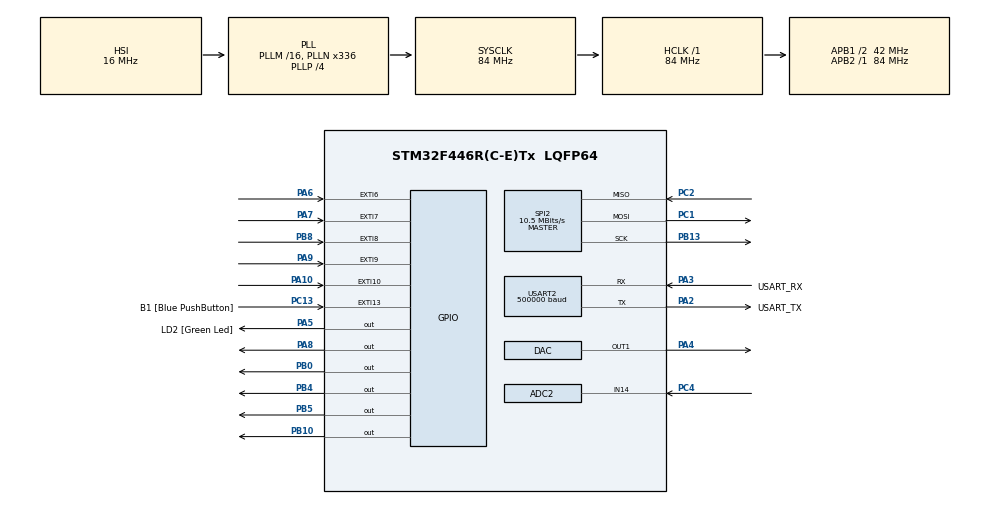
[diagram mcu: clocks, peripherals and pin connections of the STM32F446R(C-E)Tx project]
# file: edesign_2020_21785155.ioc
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ADC2.Channel-0\#ChannelRegularConversion=ADC_CHANNEL_14
ADC2.DMAContinuousRequests=ENABLE
ADC2.ExternalTrigConv=ADC_EXTERNALTRIGCONV_T2_TRGO
ADC2.NbrOfConversionFlag=1
ADC2.Rank-0\#ChannelRegularConversion=1
ADC2.Resolution=ADC_RESOLUTION_8B
ADC2.SamplingTime-0\#ChannelRegularConversion=ADC_SAMPLETIME_3CYCLES
DAC.DAC_Trigger=DAC_TRIGGER_T6_TRGO
Dma.ADC2.1.Direction=DMA_PERIPH_TO_MEMORY
Dma.ADC2.1.FIFOMode=DMA_FIFOMODE_DISABLE
Dma.ADC2.1.Instance=DMA2_Stream2
Dma.ADC2.1.MemDataAlignment=DMA_MDATAALIGN_BYTE
Dma.ADC2.1.MemInc=DMA_MINC_ENABLE
Dma.ADC2.1.Mode=DMA_CIRCULAR
Dma.ADC2.1.PeriphDataAlignment=DMA_PDATAALIGN_BYTE
Dma.ADC2.1.PeriphInc=DMA_PINC_DISABLE
Dma.ADC2.1.Priority=DMA_PRIORITY_LOW
Dma.DAC1.0.Direction=DMA_MEMORY_TO_PERIPH
Dma.DAC1.0.FIFOMode=DMA_FIFOMODE_DISABLE
Dma.DAC1.0.Instance=DMA1_Stream5
Dma.DAC1.0.MemDataAlignment=DMA_MDATAALIGN_HALFWORD
Dma.DAC1.0.MemInc=DMA_MINC_ENABLE
Dma.DAC1.0.Mode=DMA_NORMAL
Dma.DAC1.0.PeriphDataAlignment=DMA_PDATAALIGN_HALFWORD
Dma.DAC1.0.PeriphInc=DMA_PINC_DISABLE
Dma.DAC1.0.Priority=DMA_PRIORITY_LOW
Dma.Request0=DAC1
Dma.Request1=ADC2
Dma.Request2=USART2_TX
Dma.USART2_TX.2.Direction=DMA_MEMORY_TO_PERIPH
Dma.USART2_TX.2.FIFOMode=DMA_FIFOMODE_DISABLE
Dma.USART2_TX.2.Instance=DMA1_Stream6
Dma.USART2_TX.2.MemDataAlignment=DMA_MDATAALIGN_BYTE
Dma.USART2_TX.2.MemInc=DMA_MINC_ENABLE
Dma.USART2_TX.2.Mode=DMA_NORMAL
Dma.USART2_TX.2.PeriphDataAlignment=DMA_PDATAALIGN_BYTE
Dma.USART2_TX.2.PeriphInc=DMA_PINC_DISABLE
Dma.USART2_TX.2.Priority=DMA_PRIORITY_LOW
Mcu.Family=STM32F4
Mcu.Name=STM32F446R(C-E)Tx
Mcu.Package=LQFP64
NVIC.DMA1_Stream5_IRQn=true\:0\:0\:false\:false\:true\:false\:true
NVIC.DMA1_Stream6_IRQn=true\:0\:0\:false\:false\:true\:false\:true
NVIC.DMA2_Stream2_IRQn=true\:0\:0\:false\:false\:true\:false\:true
NVIC.EXTI15_10_IRQn=true\:0\:0\:false\:false\:true\:true\:true
NVIC.EXTI9_5_IRQn=true\:0\:0\:false\:false\:true\:true\:true
NVIC.PriorityGroup=NVIC_PRIORITYGROUP_0
PA10.GPIO_PuPd=GPIO_PULLDOWN
PA10.Signal=GPXTI10
PA13.GPIO_Label=TMS
PA13.Mode=Serial_Wire
PA13.Signal=SYS_JTMS-SWDIO
PA14.GPIO_Label=TCK
PA14.Mode=Serial_Wire
PA14.Signal=SYS_JTCK-SWCLK
PA2.GPIO_Label=USART_TX
PA2.Mode=Asynchronous
PA2.Signal=USART2_TX
PA3.GPIO_Label=USART_RX
PA3.Mode=Asynchronous
PA3.Signal=USART2_RX
PA4.Signal=COMP_DAC1_group
PA5.GPIO_Label=LD2 [Green Led]
PA5.Signal=GPIO_Output
PA6.GPIO_PuPd=GPIO_PULLDOWN
PA6.Signal=GPXTI6
PA7.GPIO_PuPd=GPIO_PULLDOWN
PA7.Signal=GPXTI7
PA8.Signal=GPIO_Output
PA9.GPIO_PuPd=GPIO_PULLDOWN
PA9.Signal=GPXTI9
PB0.Signal=GPIO_Output
PB10.Signal=GPIO_Output
PB13.Mode=Full_Duplex_Master
PB13.Signal=SPI2_SCK
PB3.Signal=SPI3_SCK
PB4.Signal=GPIO_Output
PB5.Signal=GPIO_Output
PB8.GPIO_PuPd=GPIO_PULLDOWN
PB8.Signal=GPXTI8
PC1.Mode=Full_Duplex_Master
PC1.Signal=SPI2_MOSI
PC13.GPIO_Label=B1 [Blue PushButton]
PC13.GPIO_ModeDefaultEXTI=GPIO_MODE_IT_FALLING
PC13.Signal=GPXTI13
PC14-OSC32_IN.Mode=LSE-External-Oscillator
PC14-OSC32_IN.Signal=RCC_OSC32_IN
PC15-OSC32_OUT.Mode=LSE-External-Oscillator
PC15-OSC32_OUT.Signal=RCC_OSC32_OUT
PC2.Mode=Full_Duplex_Master
PC2.Signal=SPI2_MISO
PC4.Signal=ADCx_IN14
PH0-OSC_IN.Mode=HSE-External-Oscillator
PH0-OSC_IN.Signal=RCC_OSC_IN
PH1-OSC_OUT.Mode=HSE-External-Oscillator
PH1-OSC_OUT.Signal=RCC_OSC_OUT
ProjectManager.HeapSize=0x200
ProjectManager.StackSize=0x400
ProjectManager.TargetToolchain=STM32CubeIDE
RCC.48MHZClocksFreq_Value=84000000
RCC.AHBFreq_Value=84000000
RCC.APB1CLKDivider=RCC_HCLK_DIV2
RCC.APB1Freq_Value=42000000
RCC.APB1TimFreq_Value=84000000
RCC.APB2Freq_Value=84000000
RCC.APB2TimFreq_Value=84000000
RCC.CortexFreq_Value=84000000
RCC.FLatency-AdvancedSettings=FLASH_LATENCY_2
RCC.HCLKFreq_Value=84000000
RCC.HSE_VALUE=8000000
RCC.HSI_VALUE=16000000
RCC.PLLN=336
RCC.PLLP=RCC_PLLP_DIV4
RCC.SYSCLKFreq_VALUE=84000000
RCC.SYSCLKSource=RCC_SYSCLKSOURCE_PLLCLK
RCC.USBFreq_Value=168000000
RCC.VCOOutputFreq_Value=336000000
SH.ADCx_IN14.0=ADC2_IN14,IN14
SH.COMP_DAC1_group.0=DAC_OUT1,DAC_OUT1
SPI2.BaudRatePrescaler=SPI_BAUDRATEPRESCALER_4
SPI2.CalculateBaudRate=10.5 MBits/s
SPI2.Direction=SPI_DIRECTION_2LINES
SPI2.Mode=SPI_MODE_MASTER
SPI2.VirtualType=VM_MASTER
TIM2.Period=1905
TIM2.Prescaler=0
TIM2.TIM_MasterOutputTrigger=TIM_TRGO_UPDATE
TIM6.Period=1905
TIM6.Prescaler=0
TIM6.TIM_MasterOutputTrigger=TIM_TRGO_UPDATE
USART2.BaudRate=500000
USART2.VirtualMode=VM_ASYNC
VP_FATFS_VS_Generic.Mode=User_defined
VP_TIM2_VS_ClockSourceINT.Mode=Internal
VP_TIM6_VS_ClockSourceINT.Mode=Enable_Timer
board=NUCLEO-F446RE

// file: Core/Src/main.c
/* USER CODE BEGIN Header */
/**
  ******************************************************************************
  * @file           : main.c
  * @brief          : Main program body
  ******************************************************************************
  * @attention
  *
  * <h2><center>&copy; Copyright (c) 2020 STMicroelectronics.
  * All rights reserved.</center></h2>
  *
  * This software component is licensed by ST under BSD 3-Clause license,
  * the "License"; You may not use this file except in compliance with the
  * License. You may obtain a copy of the License at:
  *                        opensource.org/licenses/BSD-3-Clause
  *
  ******************************************************************************
  */
/* USER CODE END Header */

#include "main.h"
#include "fatfs.h"

/* USER CODE BEGIN Includes */
#include "variables.h"
#include "math.h"
#include "sinewave.h"
#include "recording.h"
/* USER CODE END Includes */

ADC_HandleTypeDef hadc2;
DMA_HandleTypeDef hdma_adc2;

DAC_HandleTypeDef hdac;
DMA_HandleTypeDef hdma_dac1;

SPI_HandleTypeDef hspi2;

TIM_HandleTypeDef htim2;
TIM_HandleTypeDef htim6;

UART_HandleTypeDef huart2;
DMA_HandleTypeDef hdma_usart2_tx;

/* USER CODE BEGIN PV */
volatile State state;
volatile int buttOne,buttTwo, buttThree, buttRec, buttStop, exti_start, exti, state_start, wave;
volatile int ticky, Ri, Rf;
/* USER CODE END PV */

void SystemClock_Config(void);
static void MX_GPIO_Init(void);
static void MX_DMA_Init(void);
static void MX_USART2_UART_Init(void);
static void MX_DAC_Init(void);
static void MX_TIM6_Init(void);
static void MX_ADC2_Init(void);
static void MX_TIM2_Init(void);
static void MX_SPI2_Init(void);

/* USER CODE BEGIN 0 */
uint8_t rec_buffer[1024];
uint16_t dac_buffer[1024];

int32_t temp_sample;
int8_t out_buffer[1024];

int32_t avg = 128;
int32_t accumulator;
int32_t numavg;
float smooth_sample;

FATFS fs;
FRESULT fres;
FIL sdfile;

uint8_t savestart = 0;
uint8_t savemid = 0;

void HAL_ADC_ConvCpltCallback(ADC_HandleTypeDef* hadc)
{
	huart2.gState = HAL_UART_STATE_READY; //remove this, replace with write to SD Card

	for (int i=512;i<1024;i++)
	{
		accumulator += rec_buffer[i];
		temp_sample = (int32_t)rec_buffer[i] - avg;
		smooth_sample = 0.125f * temp_sample + 0.875f * smooth_sample;
		temp_sample = (int32_t)smooth_sample;
		if (temp_sample > 127) temp_sample = 127;
		if (temp_sample < -128) temp_sample = -128;
		out_buffer[i] = (int8_t)temp_sample;
	}
	numavg += 512;
	if (numavg >= 20480)
	{
		avg = accumulator /20480;
		accumulator = 0;
		numavg = 0;
	}

	HAL_UART_Transmit_DMA(&huart2, (uint8_t*)out_buffer+512, 512); //remove this, replace with write to SD Card
	savemid = 1;
}

void HAL_ADC_ConvHalfCpltCallback(ADC_HandleTypeDef* hadc)
{
	huart2.gState = HAL_UART_STATE_READY; //remove this, replace with write to SD Card

	for (int i=0;i<512;i++)
	{
		accumulator += rec_buffer[i];
		temp_sample = (int32_t)rec_buffer[i] - avg;
		smooth_sample = 0.125f * temp_sample + 0.875f * smooth_sample;
		temp_sample = (int32_t)smooth_sample;
		if (temp_sample > 127) temp_sample = 127;
		if (temp_sample < -128) temp_sample = -128;
		out_buffer[i] = (int8_t)temp_sample;
	}
	numavg += 512;
	if (numavg >= 20480)
	{
		avg = accumulator /20480;
		accumulator = 0;
		numavg = 0;
	}

	HAL_UART_Transmit_DMA(&huart2, (uint8_t*)out_buffer, 512); //remove this, replace with write to SD Card
	savestart = 1;
}

void HAL_DAC_ConvCpltCallbackCh1(DAC_HandleTypeDef* hdac)
{
	HAL_DAC_Start_DMA(hdac, DAC_CHANNEL_1, (uint32_t*)dac_buffer, 1024, DAC_ALIGN_12B_R);
	wave_fillbuffer(dac_buffer+512, wave, 512);
}

void HAL_DAC_ConvHalfCpltCallbackCh1(DAC_HandleTypeDef* hdac)
{
	wave_fillbuffer(dac_buffer, wave, 512);
}
/* USER CODE END 0 */

int main(void)
{
  /* USER CODE BEGIN 1 */
	state = Idle;
	state_start = off;
	exti = off;
	exti_start = off;
	buttOne = off;
	buttTwo	= off;
	buttThree = off;
	buttRec = off;
	buttStop = off;
	wave_init();
  /* USER CODE END 1 */

  /* MCU Configuration--------------------------------------------------------*/

  /* Reset of all peripherals, Initializes the Flash interface and the Systick. */
  HAL_Init();

  /* Configure the system clock */
  SystemClock_Config();

  /* Initialize all configured peripherals */
  MX_GPIO_Init();
  MX_DMA_Init();
  MX_USART2_UART_Init();
  MX_DAC_Init();
  MX_TIM6_Init();
  MX_ADC2_Init();
  MX_TIM2_Init();
  MX_SPI2_Init();
  MX_FATFS_Init();
  /* USER CODE BEGIN 2 */
  uint8_t msg[10] = {127, 128, '2','1','7','8','5','1','5','5'};
  HAL_UART_Transmit(&huart2, msg, sizeof(msg), 100);
  HAL_TIM_Base_Start(&htim6);
  HAL_TIM_Base_Start(&htim2);
  HAL_ADC_Start_DMA(&hadc2, (uint32_t*)rec_buffer, 1024);

  //1. SD Card Testing Start---------------------------------------------
  //deselect SD card - chipselect high
  HAL_GPIO_WritePin(GPIOB, GPIO_PIN_0, 1);
  HAL_Delay(1);

  uint8_t dummy = 0xff;
  for (int i=0;i<10;i++)
  {
	  HAL_SPI_Transmit(&hspi2, &dummy, 1, 100);
  }

  //select SD card - chipselect low
  HAL_GPIO_WritePin(GPIOB, GPIO_PIN_0, 0);
  HAL_Delay(1);

  //transmit reset/go to idel command (CMD0) bytes
  uint8_t cmd0bytes[] = {0x40, 0x00, 0x00, 0x00, 0x00, 0x95};
  HAL_SPI_Transmit(&hspi2, cmd0bytes, 6, 100);

  //read R1 response
  uint8_t r1_resp;
  int cnt = 0;
  for (cnt=0;cnt<800;cnt++)
  {
	  HAL_SPI_Receive(&hspi2, &r1_resp, 1, 100);
	  if (r1_resp = 0x01) break;
  }

  HAL_UART_Transmit(&huart2, &r1_resp, 1, 1000);
  HAL_UART_Transmit(&huart2, (uint8_t*)&cnt, 1, 1000);
  //1. SD Card Testing End-------------------------------------------------

  //2. SD Card Temporary Code Start----------------------------------------
  uint8_t res = SD_Init();
  HAL_UART_Transmit(&huart2, &res, 1, 100);
  if (res == 1) HAL_UART_Transmit(&huart2, "OK!", 4, 1000);

  uint8_t rxbuffer[512];
  uint8_t txbuffer[512] = "Hello World!";

  SD_Read(rxbuffer, 0, 1);
  HAL_UART_Transmit(&huart2, rxbuffer, 512, 1000);

  SD_Write(txbuffer, 0, 1);
  SD_Read(rxbuffer, 0, 1);
  HAL_UART_Transmit(&huart2, rxbuffer, 512, 1000);
  //2. SD Card Temporary Code End------------------------------------------

  //3. SD Card Final Code Start (to be moved to the buttons)---------------
  //mount file system (SD Card)
  fres = f_mount(&fs, "", 1);

  //create a file
  fres = f_open(&sdfile, "record1.bin", FA_CREATE_ALWAYS | FA_WRITE);

  //3. SD Card Final Code End----------------------------------------------
  /* USER CODE END 2 */

  /* Infinite loop */
  /* USER CODE BEGIN WHILE */
  //SD Card variables------------------------------------------------------
  UINT num;
  int count = 430;
  uint8_t recording = 1;
  //SD Card variables------------------------------------------------------

  while (1)
  {

	  //SD Card while loop code start (move to the right places)-----------
	  if (recording)
	  {
		  if (savestart)
		  {
			  fres = f_write(&sdfile, out_buffer, 512, &num);
			  savestart = 0;
			  count--;
		  }
		  if (savemid)
		  {
			  fres = f_write(&sdfile, out_buffer+512, 512, &num);
			  savemid = 0;
			  count--;
		  }
		  if (count == 0)
		  {
			  recording = 0;
			  f_close(&sdfile);
		  }
	  }
	  //SD Card while loop code end----------------------------------------

	  /////////////////////////////////////////////////////////////////////
	    if (exti){

		  if (!exti_start) Ri = HAL_GetTick();
		  exti_start = on;
		  Rf = HAL_GetTick();

		  	if (Rf - Ri > 10){
		  		if (HAL_GPIO_ReadPin(GPIOA, GPIO_PIN_6)) buttOne = on;
		  		else buttOne = off;

			  	if (HAL_GPIO_ReadPin(GPIOA, GPIO_PIN_10)) buttTwo = on;
			  	else buttTwo = off;

		  		if (HAL_GPIO_ReadPin(GPIOA, GPIO_PIN_9)) buttThree = on;
		  		else buttThree = off;

		  		if (HAL_GPIO_ReadPin(GPIOA, GPIO_PIN_7)) buttRec = on;
		  		else buttRec = off;

		  		if (HAL_GPIO_ReadPin(GPIOB, GPIO_PIN_8)) buttStop = on;
		  		else buttStop = off;

		  		exti = off;
		  		state_start = off;
		  		exti_start = off;
		  	}
	  }
	  /////////////////////////////////////////////////////////////////////

	  if (!state_start && !(HAL_GPIO_ReadPin(GPIOA, GPIO_PIN_6) || HAL_GPIO_ReadPin(GPIOA, GPIO_PIN_10) || HAL_GPIO_ReadPin(GPIOA, GPIO_PIN_9) || HAL_GPIO_ReadPin(GPIOB, GPIO_PIN_8))){
			  if (buttOne || buttTwo || buttThree || buttStop) state_start = on;
			  if (!buttRec && buttOne){
				  state = PlayOne;
				  wave = 1;
				  uint8_t msg[10] = {127, 128,'P','l','a','y','_','_','_','1'};
				  HAL_UART_Transmit(&huart2, msg, sizeof(msg), 100);
		  		  wave_fillbuffer(dac_buffer, 1, 1024);
		  		  HAL_DAC_Start_DMA(&hdac, DAC_CHANNEL_1, (uint32_t*)dac_buffer, 1024, DAC_ALIGN_12B_R);
			  }
			  else if (!buttRec && buttTwo){
				  state = PlayTwo;
				  wave = 2;
				  uint8_t msg[10] = {127, 128,'P','l','a','y','_','_','_','2'};
				  HAL_UART_Transmit(&huart2, msg, sizeof(msg), 100);
		  		  wave_fillbuffer(dac_buffer, 2, 1024);
		  		  HAL_DAC_Start_DMA(&hdac, DAC_CHANNEL_1, (uint32_t*)dac_buffer, 1024, DAC_ALIGN_12B_R);
			  }
			  else if (!buttRec && buttThree){
				  state = PlayThree;
				  wave = 3;
				  uint8_t msg[10] = {127, 128,'P','l','a','y','_','_','_','3'};
				  HAL_UART_Transmit(&huart2, msg, sizeof(msg), 100);
		  		  wave_fillbuffer(dac_buffer, 3, 1024);
		  		  HAL_DAC_Start_DMA(&hdac, DAC_CHANNEL_1, (uint32_t*)dac_buffer, 1024, DAC_ALIGN_12B_R);
			  }
			  else if (buttRec && buttOne){
				  state = RecOne;
				  uint8_t msg[10] = {127, 128,'R','e','c','o','r','d','_','1'};
				  HAL_UART_Transmit(&huart2, msg, sizeof(msg), 100);
		  		  HAL_DAC_Stop_DMA(&hdac, DAC_CHANNEL_1);
			  }
			  else if (buttRec && buttTwo){
				  state = RecTwo;
				  uint8_t msg[10] = {127, 128,'R','e','c','o','r','d','_','2'};
				  HAL_UART_Transmit(&huart2, msg, sizeof(msg), 100);
		  		  HAL_DAC_Stop_DMA(&hdac, DAC_CHANNEL_1);
			  }
			  else if (buttRec && buttThree){
				  state = RecThree;
				  uint8_t msg[10] = {127, 128,'R','e','c','o','r','d','_','3'};
				  HAL_UART_Transmit(&huart2, msg, sizeof(msg), 100);
		  		  HAL_DAC_Stop_DMA(&hdac, DAC_CHANNEL_1);
			  }
			  else if (buttStop){
				  state = Idle;
				  uint8_t msg[10] = {127, 128,'S','t','o','p','_','_','_','_'};
				  HAL_UART_Transmit(&huart2, msg, sizeof(msg), 1000);
		  		  HAL_DAC_Stop_DMA(&hdac, DAC_CHANNEL_1);
			  }
	  }

	  ticky = HAL_GetTick();
	  ///////////////////////////////////////////////////////////////////////////////////
	  if (state == PlayOne || state == PlayTwo || state == PlayThree || state == Idle){
	  	  if (state == PlayOne){
	  		  if (ticky % 500 < 250) HAL_GPIO_WritePin(GPIOA, GPIO_PIN_8, on);
	  		  else HAL_GPIO_WritePin(GPIOA, GPIO_PIN_8, off);
	  	  }
	  	  else HAL_GPIO_WritePin(GPIOA, GPIO_PIN_8, off);

	  	  if (state == PlayTwo){
	  		  if (ticky % 500 < 250) HAL_GPIO_WritePin(GPIOB, GPIO_PIN_10, on);
	  		  else HAL_GPIO_WritePin(GPIOB, GPIO_PIN_10, off);
	  	  }
	  	  else HAL_GPIO_WritePin(GPIOB, GPIO_PIN_10, off);

	  	  if (state == PlayThree){
	  		  if (ticky % 500 < 250) HAL_GPIO_WritePin(GPIOB, GPIO_PIN_4, on);
	  		  else HAL_GPIO_WritePin(GPIOB, GPIO_PIN_4, off);
	  	  }
	  	  else HAL_GPIO_WritePin(GPIOB, GPIO_PIN_4, off);
	  }
	  ///////////////////////////////////////////////////////////////////////////////////
  	  if (state == RecOne || state == RecTwo || state == RecThree){
  		  HAL_GPIO_WritePin(GPIOB, GPIO_PIN_5, on);

  	  	  if (state == RecOne){
  	  		  if (ticky % 500 < 250) HAL_GPIO_WritePin(GPIOA, GPIO_PIN_8, on);
  	  		  else HAL_GPIO_WritePin(GPIOA, GPIO_PIN_8, off);
  	  	  }
  	  	  else HAL_GPIO_WritePin(GPIOA, GPIO_PIN_8, off);

  	  	  if (state == RecTwo){
  	  		  if (ticky % 500 < 250) HAL_GPIO_WritePin(GPIOB, GPIO_PIN_10, on);
  	  		  else HAL_GPIO_WritePin(GPIOB, GPIO_PIN_10, off);
  	  	  }
  	  	  else HAL_GPIO_WritePin(GPIOB, GPIO_PIN_10, off);

  	  	  if (state == RecThree){
  	  		  if (ticky % 500 < 250) HAL_GPIO_WritePin(GPIOB, GPIO_PIN_4, on);
  	  		  else HAL_GPIO_WritePin(GPIOB, GPIO_PIN_4, off);
  	  	  }
  	  	  else HAL_GPIO_WritePin(GPIOB, GPIO_PIN_4, off);
  	  }
  	  else HAL_GPIO_WritePin(GPIOB, GPIO_PIN_5, off);
	  ///////////////////////////////////////////////////////////////////////////////////
    /* USER CODE END WHILE */

  }
}

void SystemClock_Config(void)
{
  RCC_OscInitTypeDef RCC_OscInitStruct = {0};
  RCC_ClkInitTypeDef RCC_ClkInitStruct = {0};

  /** Configure the main internal regulator output voltage
  */
  __HAL_RCC_PWR_CLK_ENABLE();
  __HAL_PWR_VOLTAGESCALING_CONFIG(PWR_REGULATOR_VOLTAGE_SCALE3);
  /** Initializes the CPU, AHB and APB busses clocks
  */
  RCC_OscInitStruct.OscillatorType = RCC_OSCILLATORTYPE_HSI;
  RCC_OscInitStruct.HSIState = RCC_HSI_ON;
  RCC_OscInitStruct.HSICalibrationValue = RCC_HSICALIBRATION_DEFAULT;
  RCC_OscInitStruct.PLL.PLLState = RCC_PLL_ON;
  RCC_OscInitStruct.PLL.PLLSource = RCC_PLLSOURCE_HSI;
  RCC_OscInitStruct.PLL.PLLM = 16;
  RCC_OscInitStruct.PLL.PLLN = 336;
  RCC_OscInitStruct.PLL.PLLP = RCC_PLLP_DIV4;
  RCC_OscInitStruct.PLL.PLLQ = 2;
  RCC_OscInitStruct.PLL.PLLR = 2;
  if (HAL_RCC_OscConfig(&RCC_OscInitStruct) != HAL_OK)
  {
    Error_Handler();
  }
  /** Initializes the CPU, AHB and APB busses clocks
  */
  RCC_ClkInitStruct.ClockType = RCC_CLOCKTYPE_HCLK|RCC_CLOCKTYPE_SYSCLK
                              |RCC_CLOCKTYPE_PCLK1|RCC_CLOCKTYPE_PCLK2;
  RCC_ClkInitStruct.SYSCLKSource = RCC_SYSCLKSOURCE_PLLCLK;
  RCC_ClkInitStruct.AHBCLKDivider = RCC_SYSCLK_DIV1;
  RCC_ClkInitStruct.APB1CLKDivider = RCC_HCLK_DIV2;
  RCC_ClkInitStruct.APB2CLKDivider = RCC_HCLK_DIV1;

  if (HAL_RCC_ClockConfig(&RCC_ClkInitStruct, FLASH_LATENCY_2) != HAL_OK)
  {
    Error_Handler();
  }
}

static void MX_ADC2_Init(void)
{

  ADC_ChannelConfTypeDef sConfig = {0};

  /** Configure the global features of the ADC (Clock, Resolution, Data Alignment and number of conversion)
  */
  hadc2.Instance = ADC2;
  hadc2.Init.ClockPrescaler = ADC_CLOCK_SYNC_PCLK_DIV4;
  hadc2.Init.Resolution = ADC_RESOLUTION_8B;
  hadc2.Init.ScanConvMode = DISABLE;
  hadc2.Init.ContinuousConvMode = DISABLE;
  hadc2.Init.DiscontinuousConvMode = DISABLE;
  hadc2.Init.ExternalTrigConvEdge = ADC_EXTERNALTRIGCONVEDGE_RISING;
  hadc2.Init.ExternalTrigConv = ADC_EXTERNALTRIGCONV_T2_TRGO;
  hadc2.Init.DataAlign = ADC_DATAALIGN_RIGHT;
  hadc2.Init.NbrOfConversion = 1;
  hadc2.Init.DMAContinuousRequests = ENABLE;
  hadc2.Init.EOCSelection = ADC_EOC_SINGLE_CONV;
  if (HAL_ADC_Init(&hadc2) != HAL_OK)
  {
    Error_Handler();
  }
  /** Configure for the selected ADC regular channel its corresponding rank in the sequencer and its sample time.
  */
  sConfig.Channel = ADC_CHANNEL_14;
  sConfig.Rank = 1;
  sConfig.SamplingTime = ADC_SAMPLETIME_3CYCLES;
  if (HAL_ADC_ConfigChannel(&hadc2, &sConfig) != HAL_OK)
  {
    Error_Handler();
  }

}

static void MX_DAC_Init(void)
{

  DAC_ChannelConfTypeDef sConfig = {0};

  /** DAC Initialization
  */
  hdac.Instance = DAC;
  if (HAL_DAC_Init(&hdac) != HAL_OK)
  {
    Error_Handler();
  }
  /** DAC channel OUT1 config
  */
  sConfig.DAC_Trigger = DAC_TRIGGER_T6_TRGO;
  sConfig.DAC_OutputBuffer = DAC_OUTPUTBUFFER_ENABLE;
  if (HAL_DAC_ConfigChannel(&hdac, &sConfig, DAC_CHANNEL_1) != HAL_OK)
  {
    Error_Handler();
  }

}

static void MX_SPI2_Init(void)
{

  /* SPI2 parameter configuration*/
  hspi2.Instance = SPI2;
  hspi2.Init.Mode = SPI_MODE_MASTER;
  hspi2.Init.Direction = SPI_DIRECTION_2LINES;
  hspi2.Init.DataSize = SPI_DATASIZE_8BIT;
  hspi2.Init.CLKPolarity = SPI_POLARITY_LOW;
  hspi2.Init.CLKPhase = SPI_PHASE_1EDGE;
  hspi2.Init.NSS = SPI_NSS_SOFT;
  hspi2.Init.BaudRatePrescaler = SPI_BAUDRATEPRESCALER_4;
  hspi2.Init.FirstBit = SPI_FIRSTBIT_MSB;
  hspi2.Init.TIMode = SPI_TIMODE_DISABLE;
  hspi2.Init.CRCCalculation = SPI_CRCCALCULATION_DISABLE;
  hspi2.Init.CRCPolynomial = 10;
  if (HAL_SPI_Init(&hspi2) != HAL_OK)
  {
    Error_Handler();
  }

}

static void MX_TIM2_Init(void)
{

  TIM_ClockConfigTypeDef sClockSourceConfig = {0};
  TIM_MasterConfigTypeDef sMasterConfig = {0};

  htim2.Instance = TIM2;
  htim2.Init.Prescaler = 0;
  htim2.Init.CounterMode = TIM_COUNTERMODE_UP;
  htim2.Init.Period = 1905;
  htim2.Init.ClockDivision = TIM_CLOCKDIVISION_DIV1;
  htim2.Init.AutoReloadPreload = TIM_AUTORELOAD_PRELOAD_DISABLE;
  if (HAL_TIM_Base_Init(&htim2) != HAL_OK)
  {
    Error_Handler();
  }
  sClockSourceConfig.ClockSource = TIM_CLOCKSOURCE_INTERNAL;
  if (HAL_TIM_ConfigClockSource(&htim2, &sClockSourceConfig) != HAL_OK)
  {
    Error_Handler();
  }
  sMasterConfig.MasterOutputTrigger = TIM_TRGO_UPDATE;
  sMasterConfig.MasterSlaveMode = TIM_MASTERSLAVEMODE_DISABLE;
  if (HAL_TIMEx_MasterConfigSynchronization(&htim2, &sMasterConfig) != HAL_OK)
  {
    Error_Handler();
  }

}

static void MX_TIM6_Init(void)
{

  TIM_MasterConfigTypeDef sMasterConfig = {0};

  htim6.Instance = TIM6;
  htim6.Init.Prescaler = 0;
  htim6.Init.CounterMode = TIM_COUNTERMODE_UP;
  htim6.Init.Period = 1905;
  htim6.Init.AutoReloadPreload = TIM_AUTORELOAD_PRELOAD_DISABLE;
  if (HAL_TIM_Base_Init(&htim6) != HAL_OK)
  {
    Error_Handler();
  }
  sMasterConfig.MasterOutputTrigger = TIM_TRGO_UPDATE;
  sMasterConfig.MasterSlaveMode = TIM_MASTERSLAVEMODE_DISABLE;
  if (HAL_TIMEx_MasterConfigSynchronization(&htim6, &sMasterConfig) != HAL_OK)
  {
    Error_Handler();
  }

}

static void MX_USART2_UART_Init(void)
{

  huart2.Instance = USART2;
  huart2.Init.BaudRate = 500000;
  huart2.Init.WordLength = UART_WORDLENGTH_8B;
  huart2.Init.StopBits = UART_STOPBITS_1;
  huart2.Init.Parity = UART_PARITY_NONE;
  huart2.Init.Mode = UART_MODE_TX_RX;
  huart2.Init.HwFlowCtl = UART_HWCONTROL_NONE;
  huart2.Init.OverSampling = UART_OVERSAMPLING_16;
  if (HAL_UART_Init(&huart2) != HAL_OK)
  {
    Error_Handler();
  }

}

static void MX_DMA_Init(void)
{

  /* DMA controller clock enable */
  __HAL_RCC_DMA1_CLK_ENABLE();
  __HAL_RCC_DMA2_CLK_ENABLE();

  /* DMA interrupt init */
  /* DMA1_Stream5_IRQn interrupt configuration */
  HAL_NVIC_SetPriority(DMA1_Stream5_IRQn, 0, 0);
  HAL_NVIC_EnableIRQ(DMA1_Stream5_IRQn);
  /* DMA1_Stream6_IRQn interrupt configuration */
  HAL_NVIC_SetPriority(DMA1_Stream6_IRQn, 0, 0);
  HAL_NVIC_EnableIRQ(DMA1_Stream6_IRQn);
  /* DMA2_Stream2_IRQn interrupt configuration */
  HAL_NVIC_SetPriority(DMA2_Stream2_IRQn, 0, 0);
  HAL_NVIC_EnableIRQ(DMA2_Stream2_IRQn);

}

static void MX_GPIO_Init(void)
{
  GPIO_InitTypeDef GPIO_InitStruct = {0};

  /* GPIO Ports Clock Enable */
  __HAL_RCC_GPIOC_CLK_ENABLE();
  __HAL_RCC_GPIOH_CLK_ENABLE();
  __HAL_RCC_GPIOA_CLK_ENABLE();
  __HAL_RCC_GPIOB_CLK_ENABLE();

  /*Configure GPIO pin Output Level */
  HAL_GPIO_WritePin(GPIOA, LD2_Pin|GPIO_PIN_8, GPIO_PIN_RESET);

  /*Configure GPIO pin Output Level */
  HAL_GPIO_WritePin(GPIOB, GPIO_PIN_0|GPIO_PIN_10|GPIO_PIN_4|GPIO_PIN_5, GPIO_PIN_RESET);

  /*Configure GPIO pin : B1_Pin */
  GPIO_InitStruct.Pin = B1_Pin;
  GPIO_InitStruct.Mode = GPIO_MODE_IT_FALLING;
  GPIO_InitStruct.Pull = GPIO_NOPULL;
  HAL_GPIO_Init(B1_GPIO_Port, &GPIO_InitStruct);

  /*Configure GPIO pins : LD2_Pin PA8 */
  GPIO_InitStruct.Pin = LD2_Pin|GPIO_PIN_8;
  GPIO_InitStruct.Mode = GPIO_MODE_OUTPUT_PP;
  GPIO_InitStruct.Pull = GPIO_NOPULL;
  GPIO_InitStruct.Speed = GPIO_SPEED_FREQ_LOW;
  HAL_GPIO_Init(GPIOA, &GPIO_InitStruct);

  /*Configure GPIO pins : PA6 PA7 PA9 PA10 */
  GPIO_InitStruct.Pin = GPIO_PIN_6|GPIO_PIN_7|GPIO_PIN_9|GPIO_PIN_10;
  GPIO_InitStruct.Mode = GPIO_MODE_IT_RISING;
  GPIO_InitStruct.Pull = GPIO_PULLDOWN;
  HAL_GPIO_Init(GPIOA, &GPIO_InitStruct);

  /*Configure GPIO pins : PB0 PB10 PB4 PB5 */
  GPIO_InitStruct.Pin = GPIO_PIN_0|GPIO_PIN_10|GPIO_PIN_4|GPIO_PIN_5;
  GPIO_InitStruct.Mode = GPIO_MODE_OUTPUT_PP;
  GPIO_InitStruct.Pull = GPIO_NOPULL;
  GPIO_InitStruct.Speed = GPIO_SPEED_FREQ_LOW;
  HAL_GPIO_Init(GPIOB, &GPIO_InitStruct);

  /*Configure GPIO pin : PB3 */
  GPIO_InitStruct.Pin = GPIO_PIN_3;
  GPIO_InitStruct.Mode = GPIO_MODE_AF_PP;
  GPIO_InitStruct.Pull = GPIO_NOPULL;
  GPIO_InitStruct.Speed = GPIO_SPEED_FREQ_VERY_HIGH;
  GPIO_InitStruct.Alternate = GPIO_AF6_SPI3;
  HAL_GPIO_Init(GPIOB, &GPIO_InitStruct);

  /*Configure GPIO pin : PB8 */
  GPIO_InitStruct.Pin = GPIO_PIN_8;
  GPIO_InitStruct.Mode = GPIO_MODE_IT_RISING;
  GPIO_InitStruct.Pull = GPIO_PULLDOWN;
  HAL_GPIO_Init(GPIOB, &GPIO_InitStruct);

  /* EXTI interrupt init*/
  HAL_NVIC_SetPriority(EXTI9_5_IRQn, 0, 0);
  HAL_NVIC_EnableIRQ(EXTI9_5_IRQn);

  HAL_NVIC_SetPriority(EXTI15_10_IRQn, 0, 0);
  HAL_NVIC_EnableIRQ(EXTI15_10_IRQn);

}

void Error_Handler(void)
{
}

/************************ (C) COPYRIGHT STMicroelectronics *****END OF FILE****/
